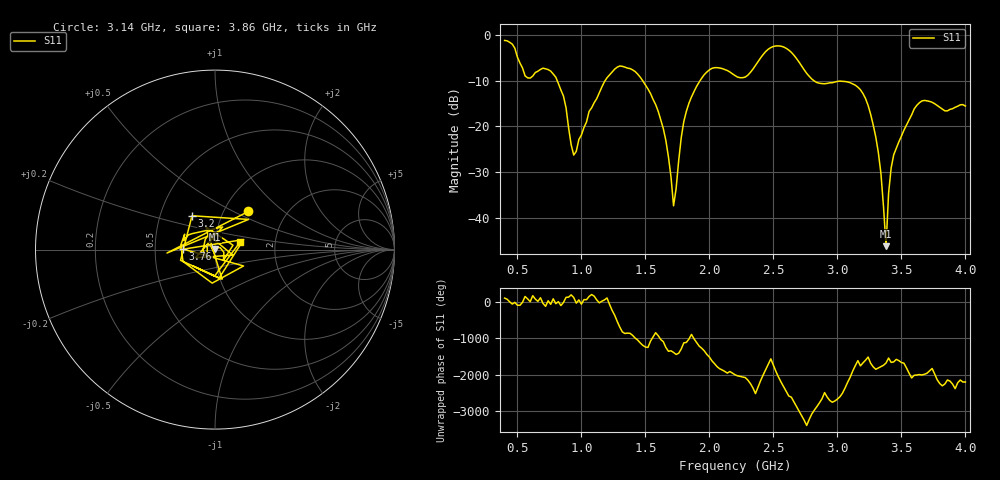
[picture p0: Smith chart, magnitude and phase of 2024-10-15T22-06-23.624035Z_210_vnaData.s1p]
! Created with skrf (http://scikit-rf.org).
# Hz S RI R 50.0
!freq ReS11 ImS11
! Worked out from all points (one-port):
!   181 points, 400 MHz to 4 GHz, reference 50 ohm
!   lowest |S11| = -46.2 dB at 3.38 GHz (marker M1), VSWR 1.01, Z = 49.8 + j0.418 ohm
!   |S11| at or under -10 dB: 810.9 MHz to 1.185 GHz (374.5 MHz wide, 37.5 % of centre); 1.478 GHz to 1.927 GHz (448.9 MHz wide, 26.4 % of centre); 2.816 GHz to end of sweep
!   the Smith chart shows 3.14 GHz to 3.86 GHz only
!   S11 on the Smith chart (normalised r, x): 3.14 GHz: 1.30, +0.60; 3.2 GHz: 0.72, +0.29; 3.76 GHz: 0.70, +0.00; 3.86 GHz: 1.32, +0.12
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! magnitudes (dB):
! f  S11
! 400 MHz  -1.2
! 560 MHz  -9.0
! 740 MHz  -7.6
! 860 MHz  -13.4
! 940 MHz  -26.3
! 1.18 GHz  -10.2
! 1.3 GHz  -6.8
! 1.58 GHz  -15.2
! 1.66 GHz  -23.1
! 1.72 GHz  -37.4
! 1.76 GHz  -27.5
! 1.82 GHz  -16.7
! 1.94 GHz  -9.4
! 2.2 GHz  -8.9
! 2.5 GHz  -2.5
! 2.66 GHz  -4.4
! 2.84 GHz  -10.4
! 3.1 GHz  -10.5
! 3.14 GHz  -11.0
! 3.2 GHz  -12.8
! 3.32 GHz  -25.8
! 3.38 GHz  -46.2
! 3.4 GHz  -34.6
! 3.42 GHz  -29.1
! 3.56 GHz  -18.6
! 3.76 GHz  -15.1
! 3.86 GHz  -16.6
! 4 GHz  -15.6
